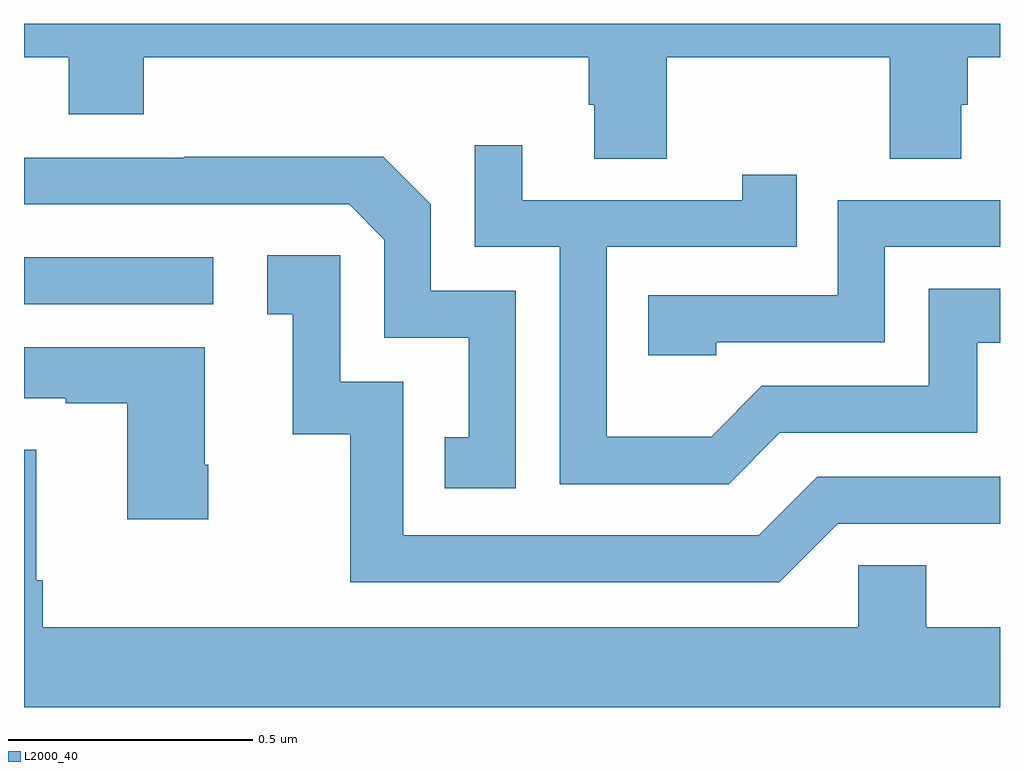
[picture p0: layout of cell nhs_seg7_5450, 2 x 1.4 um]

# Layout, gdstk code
import gdstk
lib = gdstk.Library(unit=1e-6, precision=1e-09)
def R(c, l, rs):  # rectangles x0, y0, x1, y1
    for r in rs: c.add(gdstk.rectangle(r[:2], r[2:], *l))
def P(c, l, *ps):  # polygons
    for p in ps: c.add(gdstk.Polygon(p, *l))
L2000_40 = (2000, 40)

nhs_seg7_5450 = lib.new_cell('nhs_seg7_5450')
R(nhs_seg7_5450, L2000_40, [(186,1017.426,186.388,1017.522)])
P(nhs_seg7_5450, L2000_40, [(187.317,1017.932),(187.774,1017.932),(187.774,1017.724),(187.921,1017.724),(187.921,1017.834),(187.934,1017.834),(187.934,1017.932),(188,1017.932),(188,1018),(186,1018),(186,1017.932),(186.092,1017.932),(186.092,1017.815),(186.245,1017.815),(186.245,1017.932),(187.157,1017.932),(187.157,1017.834),(187.169,1017.834),(187.169,1017.724),(187.317,1017.724)],
  [(187.549,1017.162),(187.953,1017.162),(187.953,1017.347),(188,1017.347),(188,1017.457),(187.854,1017.457),(187.854,1017.258),(187.512,1017.258),(187.408,1017.154),(187.194,1017.154),(187.194,1017.543),(187.583,1017.543),(187.583,1017.691),(187.472,1017.691),(187.472,1017.639),(187.021,1017.639),(187.021,1017.751),(186.924,1017.751),(186.924,1017.543),(187.098,1017.543),(187.098,1017.057),(187.444,1017.057)],
  [(187.008,1017.453),(186.834,1017.453),(186.834,1017.63),(186.736,1017.728),(186.328,1017.728),(186.328,1017.726),(186,1017.726),(186,1017.63),(186.666,1017.63),(186.738,1017.558),(186.738,1017.357),(186.911,1017.357),(186.911,1017.153),(186.862,1017.153),(186.862,1017.048),(187.008,1017.048)],
  [(187.419,1017.348),(187.764,1017.348),(187.764,1017.543),(188,1017.543),(188,1017.639),(187.668,1017.639),(187.668,1017.444),(187.279,1017.444),(187.279,1017.321),(187.419,1017.321)],
  [(187.668,1016.976),(188,1016.976),(188,1017.072),(187.626,1017.072),(187.506,1016.952),(186.777,1016.952),(186.777,1017.267),(186.648,1017.267),(186.648,1017.526),(186.498,1017.526),(186.498,1017.405),(186.551,1017.405),(186.551,1017.159),(186.669,1017.159),(186.669,1016.856),(187.548,1016.856)],
  [(186.378,1017.097),(186.37,1017.097),(186.37,1017.337),(186,1017.337),(186,1017.233),(186.086,1017.233),(186.086,1017.223),(186.212,1017.223),(186.212,1016.985),(186.378,1016.985)],
  [(188,1016.764),(187.849,1016.764),(187.849,1016.891),(187.71,1016.891),(187.71,1016.764),(186.038,1016.764),(186.038,1016.86),(186.025,1016.86),(186.025,1017.127),(186,1017.127),(186,1016.6),(188,1016.6)])

lib.write_gds('nhs_seg7_5450.gds')
